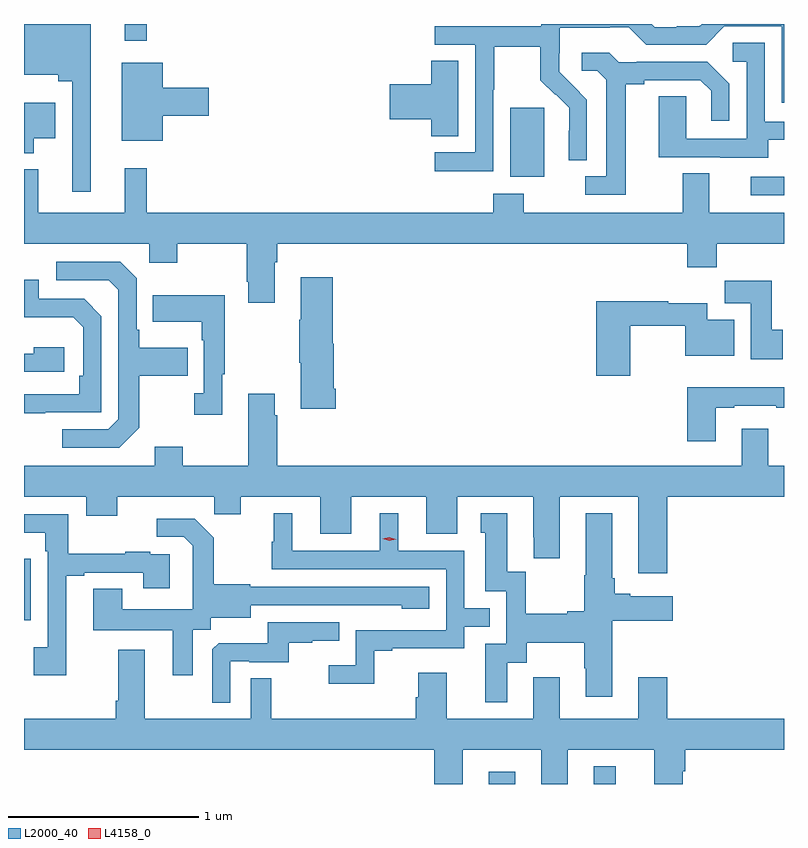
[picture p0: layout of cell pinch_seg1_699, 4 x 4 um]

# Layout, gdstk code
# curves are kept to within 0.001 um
import gdstk
lib = gdstk.Library(unit=1e-6, precision=1e-09)
def R(c, l, rs):  # rectangles x0, y0, x1, y1
    for r in rs: c.add(gdstk.rectangle(r[:2], r[2:], *l))
def P(c, l, *ps):  # polygons
    for p in ps: c.add(gdstk.Polygon(p, *l))
L2000_40 = (2000, 40)
L4158_0 = (4158, 0)

pinch_seg1_699 = lib.new_cell('pinch_seg1_699')
R(pinch_seg1_699, L2000_40, [(747.071,574.197,747.211,574.261), (747.623,574.197,747.739,574.291), (744.625,575.058,744.66,575.383), (748.449,577.296,748.625,577.392), (747.185,577.394,747.364,577.755), (745.154,578.109,745.271,578.197)])
P(pinch_seg1_699, L2000_40, [(744.976,578.197),(744.625,578.197),(744.625,577.931),(744.806,577.931),(744.806,577.895),(744.879,577.895),(744.879,577.314),(744.976,577.314)],
  [(747.096,577.852),(747.099,577.852),(747.099,578.076),(747.343,578.076),(747.343,577.901),(747.42,577.824),(747.423,577.827),(747.494,577.757),(747.494,577.634),(747.492,577.634),(747.492,577.48),(747.588,577.48),(747.588,577.798),(747.442,577.946),(747.442,578.043),(747.444,578.043),(747.444,578.177),(747.707,578.177),(747.707,578.181),(747.807,578.181),(747.9,578.088),(748.215,578.088),(748.311,578.184),(748.614,578.184),(748.614,577.782),(748.625,577.782),(748.625,578.197),(748.192,578.197),(748.179,578.184),(748.061,578.184),(748.061,578.181),(747.945,578.181),(747.929,578.197),(747.348,578.197),(747.348,578.184),(746.787,578.184),(746.787,578.088),(747,578.088),(747,577.521),(746.787,577.521),(746.787,577.423),(747.096,577.423)],
  [(748.543,577.587),(748.625,577.587),(748.625,577.683),(748.524,577.683),(748.524,578.099),(748.356,578.099),(748.356,577.998),(748.428,577.998),(748.428,577.593),(748.11,577.593),(748.11,577.817),(747.965,577.817),(747.965,577.497),(748.289,577.497),(748.289,577.493),(748.543,577.493)],
  [(747.793,577.88),(747.889,577.88),(747.889,577.902),(748.184,577.902),(748.241,577.845),(748.241,577.689),(748.338,577.689),(748.338,577.882),(748.222,577.998),(747.85,577.998),(747.85,577.995),(747.756,577.995),(747.704,578.047),(747.561,578.047),(747.561,577.95),(747.642,577.95),(747.689,577.903),(747.689,577.395),(747.579,577.395),(747.579,577.299),(747.793,577.299)],
  [(746.911,578.003),(746.768,578.003),(746.768,577.88),(746.55,577.88),(746.55,577.697),(746.768,577.697),(746.768,577.606),(746.911,577.606)],
  [(745.354,577.715),(745.597,577.715),(745.597,577.862),(745.354,577.862),(745.354,577.993),(745.139,577.993),(745.139,577.583),(745.354,577.583)],
  [(744.676,577.595),(744.79,577.595),(744.79,577.783),(744.625,577.783),(744.625,577.517),(744.676,577.517)],
  [(745.945,576.944),(745.958,576.944),(745.958,577.04),(748.115,577.04),(748.115,576.916),(748.271,576.916),(748.271,577.04),(748.625,577.04),(748.625,577.204),(748.231,577.204),(748.231,577.412),(748.091,577.412),(748.091,577.204),(747.255,577.204),(747.255,577.303),(747.095,577.303),(747.095,577.204),(745.271,577.204),(745.271,577.438),(745.154,577.438),(745.154,577.204),(744.701,577.204),(744.701,577.432),(744.625,577.432),(744.625,577.04),(745.284,577.04),(745.284,576.941),(745.431,576.941),(745.431,577.04),(745.798,577.04),(745.798,576.841),(745.805,576.841),(745.805,576.729),(745.945,576.729)],
  [(745.231,576.073),(745.231,576.346),(745.487,576.346),(745.487,576.493),(745.231,576.493),(745.231,576.589),(745.218,576.589),(745.218,576.858),(745.131,576.945),(744.795,576.945),(744.795,576.849),(745.071,576.849),(745.122,576.798),(745.122,576.117),(745.068,576.063),(744.825,576.063),(744.825,575.967),(745.125,575.967)],
  [(746.267,576.277),(746.254,576.277),(746.254,576.513),(746.249,576.513),(746.249,576.865),(746.081,576.865),(746.081,576.641),(746.074,576.641),(746.074,576.413),(746.081,576.413),(746.081,576.173),(746.267,576.173)],
  [(744.737,576.153),(745.032,576.153),(745.032,576.66),(744.942,576.75),(744.702,576.75),(744.702,576.852),(744.625,576.852),(744.625,576.653),(744.883,576.653),(744.936,576.6),(744.936,576.346),(744.916,576.346),(744.916,576.249),(744.625,576.249),(744.625,576.148),(744.737,576.148)],
  [(748.618,576.588),(748.561,576.588),(748.561,576.846),(748.312,576.846),(748.312,576.728),(748.451,576.728),(748.451,576.432),(748.618,576.432)],
  [(745.669,576.353),(745.681,576.353),(745.681,576.769),(745.303,576.769),(745.303,576.629),(745.56,576.629),(745.56,576.533),(745.572,576.533),(745.572,576.254),(745.521,576.254),(745.521,576.141),(745.669,576.141)],
  [(747.816,576.61),(748.105,576.61),(748.105,576.452),(748.363,576.452),(748.363,576.64),(748.222,576.64),(748.222,576.728),(748.016,576.728),(748.016,576.739),(747.638,576.739),(747.638,576.345),(747.816,576.345)],
  [(744.838,576.496),(744.677,576.496),(744.677,576.462),(744.625,576.462),(744.625,576.366),(744.838,576.366)],
  [(748.267,576.177),(748.363,576.177),(748.363,576.189),(748.583,576.189),(748.583,576.177),(748.625,576.177),(748.625,576.286),(748.115,576.286),(748.115,576),(748.267,576)],
  [(748.01,575.708),(748.625,575.708),(748.625,575.872),(748.543,575.872),(748.543,576.067),(748.403,576.067),(748.403,575.872),(745.958,575.872),(745.958,576.137),(745.945,576.137),(745.945,576.25),(745.805,576.25),(745.805,575.872),(745.461,575.872),(745.461,575.971),(745.313,575.971),(745.313,575.872),(744.625,575.872),(744.625,575.708),(744.953,575.708),(744.953,575.609),(745.117,575.609),(745.117,575.708),(745.627,575.708),(745.627,575.618),(745.765,575.618),(745.765,575.708),(746.183,575.708),(746.183,575.514),(746.347,575.514),(746.347,575.708),(746.741,575.708),(746.741,575.514),(746.905,575.514),(746.905,575.708),(747.305,575.708),(747.305,575.497),(747.308,575.497),(747.308,575.385),(747.445,575.385),(747.445,575.708),(747.857,575.708),(747.857,575.307),(748.01,575.307)],
  [(746.469,574.899),(746.563,574.899),(746.563,574.911),(746.943,574.911),(746.943,575.025),(747.077,575.025),(747.077,575.121),(746.943,575.121),(746.943,575.424),(746.596,575.424),(746.596,575.623),(746.498,575.623),(746.498,575.424),(746.038,575.424),(746.038,575.623),(745.94,575.623),(745.94,575.472),(745.929,575.472),(745.929,575.328),(746.847,575.328),(746.847,575.007),(746.37,575.007),(746.37,574.822),(746.229,574.822),(746.229,574.724),(746.469,574.724)],
  [(747.169,574.834),(747.271,574.834),(747.271,574.94),(747.574,574.94),(747.574,574.806),(747.581,574.806),(747.581,574.656),(747.721,574.656),(747.721,575.056),(748.039,575.056),(748.039,575.185),(747.817,575.185),(747.817,575.198),(747.734,575.198),(747.734,575.281),(747.721,575.281),(747.721,575.623),(747.581,575.623),(747.581,575.297),(747.574,575.297),(747.574,575.105),(747.485,575.105),(747.485,575.092),(747.267,575.092),(747.267,575.315),(747.169,575.315),(747.169,575.623),(747.029,575.623),(747.029,575.52),(747.053,575.52),(747.053,575.211),(747.162,575.211),(747.162,574.935),(747.053,574.935),(747.053,574.626),(747.169,574.626)],
  [(744.847,575.292),(744.943,575.292),(744.943,575.31),(745.253,575.31),(745.253,575.226),(745.393,575.226),(745.393,575.406),(745.289,575.406),(745.289,575.419),(745.157,575.419),(745.157,575.408),(744.859,575.408),(744.859,575.616),(744.625,575.616),(744.625,575.519),(744.738,575.519),(744.738,575.423),(744.75,575.423),(744.75,574.918),(744.675,574.918),(744.675,574.77),(744.847,574.77)],
  [(745.513,575.008),(745.608,575.008),(745.608,575.072),(745.819,575.072),(745.819,575.139),(746.613,575.138),(746.613,575.12),(746.758,575.12),(746.758,575.235),(745.815,575.235),(745.815,575.248),(745.623,575.248),(745.623,575.493),(745.523,575.593),(745.323,575.593),(745.323,575.499),(745.467,575.499),(745.514,575.452),(745.514,575.357),(745.512,575.357),(745.512,575.116),(745.141,575.116),(745.141,575.225),(744.989,575.225),(744.989,575.006),(745.409,575.006),(745.409,574.77),(745.513,574.77)],
  [(745.71,574.842),(745.81,574.842),(745.81,574.839),(746.018,574.839),(746.018,574.941),(746.141,574.941),(746.141,574.952),(746.285,574.952),(746.285,575.049),(745.908,575.049),(745.908,574.937),(745.649,574.937),(745.617,574.905),(745.617,574.625),(745.71,574.625)],
  [(746.935,574.376),(747.347,574.376),(747.347,574.197),(747.487,574.197),(747.487,574.376),(747.941,574.376),(747.941,574.197),(748.093,574.197),(748.093,574.263),(748.106,574.263),(748.106,574.376),(748.625,574.376),(748.625,574.54),(748.01,574.54),(748.01,574.759),(747.857,574.759),(747.857,574.54),(747.445,574.54),(747.445,574.759),(747.305,574.759),(747.305,574.54),(746.851,574.54),(746.851,574.783),(746.699,574.783),(746.699,574.653),(746.687,574.653),(746.687,574.54),(745.927,574.54),(745.927,574.754),(745.818,574.754),(745.818,574.54),(745.261,574.54),(745.261,574.903),(745.121,574.903),(745.121,574.636),(745.109,574.636),(745.109,574.54),(744.625,574.54),(744.625,574.376),(746.783,574.376),(746.783,574.197),(746.935,574.197)])
P(pinch_seg1_699, L4158_0, [(746.547,575.477),(746.512,575.488),(746.511,575.488),(746.512,575.488),(746.547,575.497),(746.582,575.486),(746.583,575.486),(746.582,575.486)])

lib.write_gds('pinch_seg1_699.gds')
